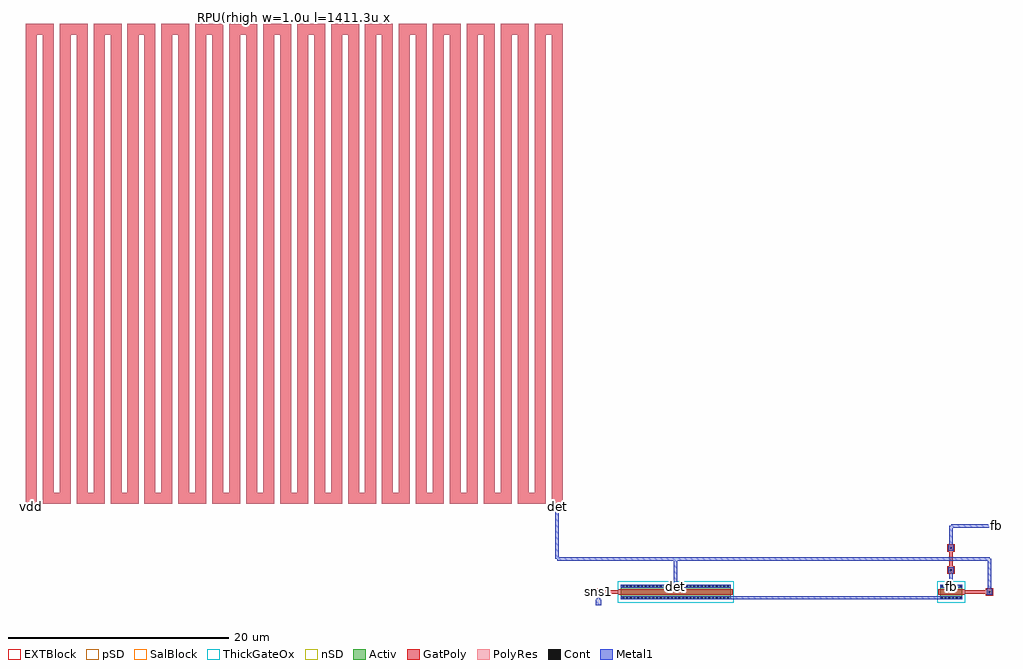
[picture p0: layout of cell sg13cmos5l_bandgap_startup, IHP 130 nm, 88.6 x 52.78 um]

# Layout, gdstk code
import gdstk
lib = gdstk.Library(unit=1e-6, precision=1e-09)
def R(c, l, rs):  # rectangles x0, y0, x1, y1
    for r in rs: c.add(gdstk.rectangle(r[:2], r[2:], *l))
def A(c, l, x, y, w, h, nx, ny, dx, dy):  # array of equal rectangles
    R(c, l, [(x+i*dx, y+j*dy, x+i*dx+w, y+j*dy+h) for i in range(nx) for j in range(ny)])
Activ = (1, 0)
GatPoly = (5, 0)
Cont = (6, 0)
nSD = (7, 0)
Metal1 = (8, 0)
pSD = (14, 0)
SalBlock = (28, 0)
ThickGateOx = (44, 0)
EXTBlock = (111, 0)
PolyRes = (128, 0)

sg13cmos5l_bandgap_start = lib.new_cell('sg13cmos5l_bandgap_startup')
R(sg13cmos5l_bandgap_start, Activ, [(54,-0.65,64,0.65), (83,-0.65,85,0.65)])
A(sg13cmos5l_bandgap_start, GatPoly, 0, 8, 1, 43.58, 32, 1, 1.54, 0)
A(sg13cmos5l_bandgap_start, GatPoly, 2.54, 8, 0.54, 1, 15, 1, 3.08, 0)
A(sg13cmos5l_bandgap_start, GatPoly, 1, 50.58, 0.54, 1, 16, 1, 3.08, 0)
R(sg13cmos5l_bandgap_start, GatPoly, [(51.65,-0.35,52.35,0.35), (87.15,-0.35,87.85,0.35), (53.82,-0.25,64.18,0.25), (82.82,-0.25,85.18,0.25), (52,-0.15,53.82,0.15), (85.18,-0.15,87.5,0.15), (83.65,1.65,84.35,2.35), (83.85,2,84.15,4), (83.65,3.65,84.35,4.35), (-0.1,7.6,1.1,8), (47.64,7.6,48.84,8)])
A(sg13cmos5l_bandgap_start, Cont, 54.16, -0.58, 0.16, 0.16, 29, 2, 0.34, 1)
A(sg13cmos5l_bandgap_start, Cont, 83.07, -0.58, 0.16, 0.16, 6, 2, 0.34, 1)
A(sg13cmos5l_bandgap_start, Cont, 0.08, 7.72, 0.16, 0.16, 3, 1, 0.34, 0)
A(sg13cmos5l_bandgap_start, Cont, 47.82, 7.72, 0.16, 0.16, 3, 1, 0.34, 0)
R(sg13cmos5l_bandgap_start, Cont, [(51.92,-0.08,52.08,0.08), (87.42,-0.08,87.58,0.08), (83.92,1.92,84.08,2.08), (83.92,3.92,84.08,4.08)])
A(sg13cmos5l_bandgap_start, nSD, 0, 8, 1, 43.58, 32, 1, 1.54, 0)
A(sg13cmos5l_bandgap_start, nSD, 2.54, 8, 0.54, 1, 15, 1, 3.08, 0)
A(sg13cmos5l_bandgap_start, nSD, 1, 50.58, 0.54, 1, 16, 1, 3.08, 0)
R(sg13cmos5l_bandgap_start, Metal1, [(51.75,-1.2,52.25,-0.7), (51.85,-0.7,52.15,-0.25), (54,-0.65,64,-0.39), (54,-0.65,85,-0.39), (83,-0.65,85,-0.39), (51.75,-0.25,52.25,0.25), (87.25,-0.25,87.75,0.25), (87.35,0,87.65,3), (54,0.39,64,0.65), (83,0.39,85,0.65), (58.85,0.65,59.15,3), (83.85,0.65,84.15,2), (83.75,1.75,84.25,2.25), (48.24,2.85,87.5,3.15), (48.09,3,48.39,7.5), (83.75,3.75,84.25,4.25), (83.85,4,84.15,6), (87.9,5.75,88.4,6.25), (84,5.85,87.9,6.15), (-0.2,7.5,1.2,8), (47.54,7.5,48.94,8)])
A(sg13cmos5l_bandgap_start, pSD, 0, 8, 1, 43.58, 32, 1, 1.54, 0)
A(sg13cmos5l_bandgap_start, pSD, 2.54, 8, 0.54, 1, 15, 1, 3.08, 0)
A(sg13cmos5l_bandgap_start, pSD, 1, 50.58, 0.54, 1, 16, 1, 3.08, 0)
A(sg13cmos5l_bandgap_start, SalBlock, 0, 8, 1, 43.58, 32, 1, 1.54, 0)
A(sg13cmos5l_bandgap_start, SalBlock, 2.54, 8, 0.54, 1, 15, 1, 3.08, 0)
A(sg13cmos5l_bandgap_start, SalBlock, 1, 50.58, 0.54, 1, 16, 1, 3.08, 0)
R(sg13cmos5l_bandgap_start, ThickGateOx, [(53.73,-0.99,64.27,0.99), (82.73,-0.99,85.27,0.99)])
A(sg13cmos5l_bandgap_start, EXTBlock, 0, 8, 1, 43.58, 32, 1, 1.54, 0)
A(sg13cmos5l_bandgap_start, EXTBlock, 2.54, 8, 0.54, 1, 15, 1, 3.08, 0)
A(sg13cmos5l_bandgap_start, EXTBlock, 1, 50.58, 0.54, 1, 16, 1, 3.08, 0)
A(sg13cmos5l_bandgap_start, PolyRes, 0, 8, 1, 43.58, 32, 1, 1.54, 0)
A(sg13cmos5l_bandgap_start, PolyRes, 2.54, 8, 0.54, 1, 15, 1, 3.08, 0)
A(sg13cmos5l_bandgap_start, PolyRes, 1, 50.58, 0.54, 1, 16, 1, 3.08, 0)
sg13cmos5l_bandgap_start.add(gdstk.Label('vdd', (0.5,7.75), layer=8, texttype=2))
sg13cmos5l_bandgap_start.add(gdstk.Label('det', (48.24,7.75), layer=8, texttype=2))
sg13cmos5l_bandgap_start.add(gdstk.Label('det', (59,0.52), layer=8, texttype=2))
sg13cmos5l_bandgap_start.add(gdstk.Label('vss', (59,-0.52), layer=8, texttype=2))
sg13cmos5l_bandgap_start.add(gdstk.Label('fb', (84,0.52), layer=8, texttype=2))
sg13cmos5l_bandgap_start.add(gdstk.Label('vss', (84,-0.52), layer=8, texttype=2))
sg13cmos5l_bandgap_start.add(gdstk.Label('sns1', (52,0), layer=8, texttype=2))
sg13cmos5l_bandgap_start.add(gdstk.Label('sns1', (52,-0.95), layer=8, texttype=2))
sg13cmos5l_bandgap_start.add(gdstk.Label('fb', (88.15,6), layer=8, texttype=2))
sg13cmos5l_bandgap_start.add(gdstk.Label('RPU(rhigh w=1.0u l=1411.3u x32)', (24.37,52.18), layer=63, texttype=0))
sg13cmos5l_bandgap_start.add(gdstk.Label('MSENSE(sg13_hv_nmos w=10.0u l=0.5u g=sns1)', (59,1.45), layer=63, texttype=0))
sg13cmos5l_bandgap_start.add(gdstk.Label('MKFB(sg13_hv_nmos w=2.0u l=0.5u g=det)', (84,1.45), layer=63, texttype=0))

lib.write_gds('sg13cmos5l_bandgap_startup.gds')
